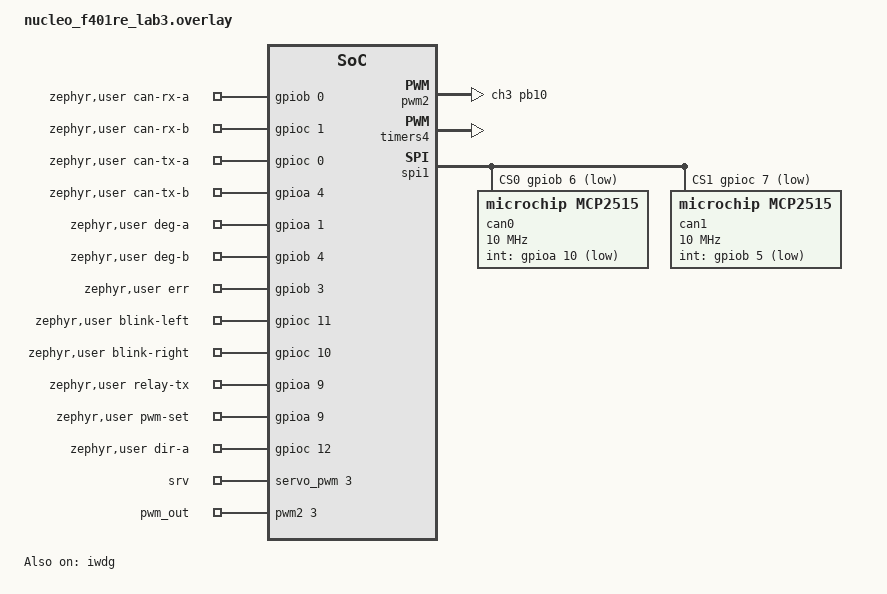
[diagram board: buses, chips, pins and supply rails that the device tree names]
#include <zephyr/dt-bindings/pwm/pwm.h>

/ {
    aliases {
        can-a = &can0;
        can-b = &can1;
        /delete-property/ led0;
    };

    chosen {
        zephyr,canbus = &can0;
    };

    zephyr,user {
        can-rx-a-gpios = <&gpiob 0 GPIO_ACTIVE_HIGH>;
        can-rx-b-gpios = <&gpioc 1 GPIO_ACTIVE_HIGH>;
        can-tx-a-gpios = <&gpioc 0 GPIO_ACTIVE_HIGH>;
        can-tx-b-gpios = <&gpioa 4 GPIO_ACTIVE_HIGH>;
        deg-a-gpios = <&gpioa 1 GPIO_ACTIVE_HIGH>;
        deg-b-gpios = <&gpiob 4 GPIO_ACTIVE_HIGH>;
        err-gpios = <&gpiob 3 GPIO_ACTIVE_HIGH>;
        blink-left-gpios = <&gpioc 11 GPIO_ACTIVE_HIGH>;
        blink-right-gpios = <&gpioc 10 GPIO_ACTIVE_HIGH>;
        relay-tx-gpios = <&gpioa 9 GPIO_ACTIVE_HIGH>;
        pwm-set-gpios = <&gpioa 9 GPIO_ACTIVE_HIGH>;
        dir-a-gpios = <&gpioc 12 GPIO_ACTIVE_HIGH>;  /* CN7-3, N3 row 11 */
        pwms = <&servo_pwm 3 PWM_MSEC(20) PWM_POLARITY_NORMAL>, <&pwm2 3 PWM_MSEC(1) PWM_POLARITY_NORMAL>;
        pwm-names = "srv", "pwm_out";
    };
};

&iwdg {
    status = "okay";
};

&i2c1 {
    status = "disabled";
};

&pwm2 {
    pinctrl-0 = <&tim2_ch3_pb10>;
};

&timers4 {
    status = "okay";
    st,prescaler = <83>;
    servo_pwm: pwm {
        status = "okay";
        pinctrl-0 = <&tim4_ch3_pb8>;
        pinctrl-names = "default";
    };
};

&usart1 {
    status = "disabled";
};

&spi1 {
    status = "okay";
    cs-gpios = <&gpiob 6 (GPIO_ACTIVE_LOW | GPIO_PULL_UP) &gpioc 7 (GPIO_ACTIVE_LOW | GPIO_PULL_UP)>;
    
    can0: mcp2515@0 {
        compatible = "microchip,mcp2515";
        reg = <0>;
        spi-max-frequency = <10000000>;
        osc-freq = <16000000>;
        bitrate = <500000>;
        int-gpios = <&gpioa 10 GPIO_ACTIVE_LOW>;
        status = "okay";
        label = "can0";
    };

    can1: mcp2515@1 {
        compatible = "microchip,mcp2515";
        reg = <1>;
        spi-max-frequency = <10000000>;
        osc-freq = <16000000>;
        bitrate = <500000>;
        int-gpios = <&gpiob 5 GPIO_ACTIVE_LOW>;
        status = "okay";
        label = "can1";
    };
};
